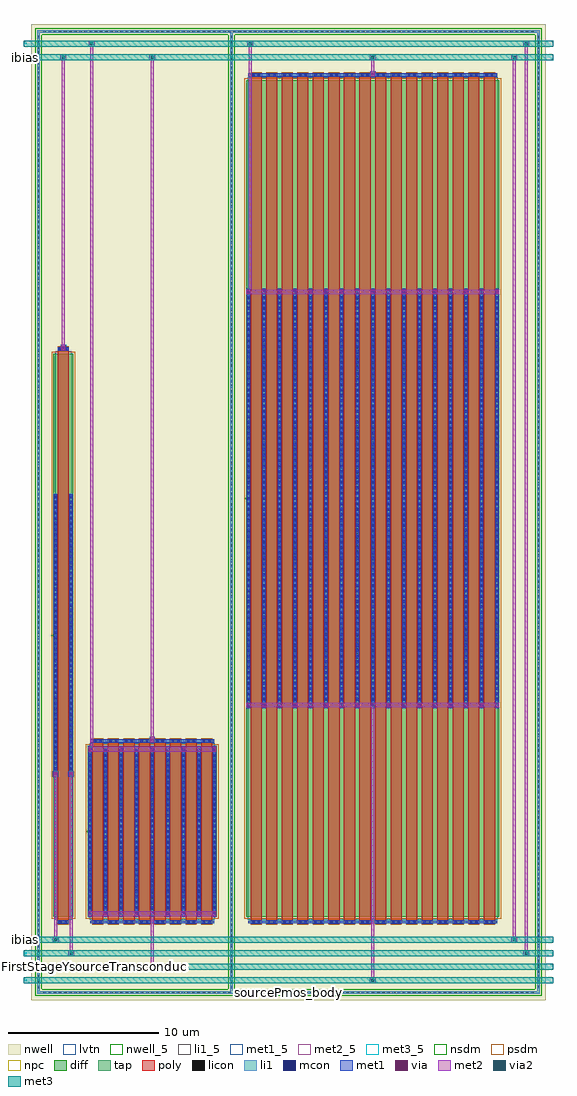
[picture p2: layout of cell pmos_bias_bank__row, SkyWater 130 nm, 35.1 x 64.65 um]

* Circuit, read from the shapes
.subckt pmos_bias_bank__row FirstStageYsourceTransconductance ibias out sourcePmos sourcePmos_body
XM1 sourcePmos ibias ibias sourcePmos_body sky130_fd_pr__pfet_01v8_lvt w=37.3 l=0.74
XM2 FirstStageYsourceTransconductance ibias sourcePmos sourcePmos_body sky130_fd_pr__pfet_01v8_lvt w=11.33 l=0.74 m=8
XM3 out ibias sourcePmos sourcePmos_body sky130_fd_pr__pfet_01v8_lvt w=55.44 l=0.74 m=16
.ends

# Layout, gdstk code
import gdstk
lib = gdstk.Library(unit=1e-6, precision=1e-09)
def R(c, l, rs):  # rectangles x0, y0, x1, y1
    for r in rs: c.add(gdstk.rectangle(r[:2], r[2:], *l))
def A(c, l, x, y, w, h, nx, ny, dx, dy):  # array of equal rectangles
    R(c, l, [(x+i*dx, y+j*dy, x+i*dx+w, y+j*dy+h) for i in range(nx) for j in range(ny)])
nwell_5 = (64, 5)
nwell = (64, 20)
diff = (65, 20)
tap = (65, 44)
poly = (66, 20)
licon = (66, 44)
li1_5 = (67, 5)
li1 = (67, 20)
mcon = (67, 44)
met1_5 = (68, 5)
met1 = (68, 20)
via = (68, 44)
met2_5 = (69, 5)
met2 = (69, 20)
via2 = (69, 44)
met3_5 = (70, 5)
met3 = (70, 20)
nsdm = (93, 44)
psdm = (94, 20)
npc = (95, 20)
lvtn = (125, 44)

sky130_fd_pr__pfet_01v8_ = lib.new_cell('sky130_fd_pr__pfet_01v8_lvt_7S7S4Q')
R(sky130_fd_pr__pfet_01v8_, nwell, [(-0.84,-19.15,0.84,19.15)])
R(sky130_fd_pr__pfet_01v8_, diff, [(-0.66,-18.65,0.66,18.65)])
R(sky130_fd_pr__pfet_01v8_, poly, [(-0.37,-19.135,0.37,19.135)])
A(sky130_fd_pr__pfet_01v8_, licon, -0.6, -9.265, 0.17, 0.17, 1, 55, 0, 0.34)
A(sky130_fd_pr__pfet_01v8_, licon, 0.43, -9.265, 0.17, 0.17, 1, 55, 0, 0.34)
R(sky130_fd_pr__pfet_01v8_, licon, [(-0.255,-19.055,-0.085,-18.885), (0.085,-19.055,0.255,-18.885), (-0.255,18.885,-0.085,19.055), (0.085,18.885,0.255,19.055)])
R(sky130_fd_pr__pfet_01v8_, li1, [(-0.37,-19.055,0.37,-18.885), (-0.6,-9.375,-0.43,9.375), (0.43,-9.375,0.6,9.375), (-0.37,18.885,0.37,19.055)])
A(sky130_fd_pr__pfet_01v8_, mcon, -0.6, -9.265, 0.17, 0.17, 1, 52, 0, 0.36)
A(sky130_fd_pr__pfet_01v8_, mcon, 0.43, -9.265, 0.17, 0.17, 1, 52, 0, 0.36)
R(sky130_fd_pr__pfet_01v8_, mcon, [(-0.265,-19.055,-0.095,-18.885), (0.095,-19.055,0.265,-18.885), (-0.265,18.885,-0.095,19.055), (0.095,18.885,0.265,19.055)])
R(sky130_fd_pr__pfet_01v8_, met1, [(-0.35,-19.085,0.35,-18.855), (-0.63,-9.355,-0.4,9.355), (0.4,-9.355,0.63,9.355), (-0.35,18.855,0.35,19.085)])
R(sky130_fd_pr__pfet_01v8_, psdm, [(-0.785,-18.775,0.785,18.775)])
R(sky130_fd_pr__pfet_01v8_, npc, [(-0.355,-19.155,0.355,-18.785), (-0.355,18.785,0.355,19.155)])
R(sky130_fd_pr__pfet_01v8_, lvtn, [(-0.55,-18.83,0.55,18.83)])
sky130_fd_pr__pfet_01v8_.add(gdstk.Label('D', (-0.515,0), layer=67, texttype=5))
sky130_fd_pr__pfet_01v8_.add(gdstk.Label('S', (0.515,0), layer=67, texttype=5))
sky130_fd_pr__pfet_01v8_.add(gdstk.Label('G', (0,18.97), layer=67, texttype=5))

pfet_01v8_lvt_w37p3_l0p7 = lib.new_cell('pfet_01v8_lvt_W37p3_L0p74_m1__nf1_gboth_sdhalf_ng')
R(pfet_01v8_lvt_w37p3_l0p7, nwell_5, [(0.05,19.1,0.15,19.2)])
R(pfet_01v8_lvt_w37p3_l0p7, nwell, [(0.05,19.1,0.15,19.2)])
R(pfet_01v8_lvt_w37p3_l0p7, met1_5, [(0.21,19.15,0.44,19.35), (1.24,19.15,1.47,19.35), (0.49,38.005,1.19,38.235)])
R(pfet_01v8_lvt_w37p3_l0p7, met1, [(0.21,19.15,0.44,19.35), (1.24,19.15,1.47,19.35), (0.49,38.005,1.19,38.235)])
pfet_01v8_lvt_w37p3_l0p7.add(gdstk.Reference(sky130_fd_pr__pfet_01v8_, (0.84,19.15)))
pfet_01v8_lvt_w37p3_l0p7.add(gdstk.Label('D', (0.325,19.25), layer=68, texttype=5))
pfet_01v8_lvt_w37p3_l0p7.add(gdstk.Label('S', (1.355,19.25), layer=68, texttype=5))
pfet_01v8_lvt_w37p3_l0p7.add(gdstk.Label('G', (0.84,38.12), layer=68, texttype=5))
pfet_01v8_lvt_w37p3_l0p7.add(gdstk.Label('B', (0.1,19.15), layer=64, texttype=5))

c_sky130_fd_pr__pfet_01v8_ = lib.new_cell('sky130_fd_pr__pfet_01v8_lvt_CBAHUX')
R(c_sky130_fd_pr__pfet_01v8_, nwell, [(-4.445,-6.165,4.445,6.165)])
R(c_sky130_fd_pr__pfet_01v8_, diff, [(-4.265,-5.665,4.265,5.665)])
A(c_sky130_fd_pr__pfet_01v8_, poly, -3.975, -6.15, 0.74, 12.3, 8, 1, 1.03, 0)
A(c_sky130_fd_pr__pfet_01v8_, licon, -4.205, -5.525, 0.17, 0.17, 9, 33, 1.03, 0.34)
R(c_sky130_fd_pr__pfet_01v8_, licon, [(-3.86,-6.07,-3.69,-5.9), (-3.52,-6.07,-3.35,-5.9), (-2.83,-6.07,-2.66,-5.9), (-2.49,-6.07,-2.32,-5.9), (-1.8,-6.07,-1.63,-5.9), (-1.46,-6.07,-1.29,-5.9), (-0.77,-6.07,-0.6,-5.9), (-0.43,-6.07,-0.26,-5.9), (0.26,-6.07,0.43,-5.9), (0.6,-6.07,0.77,-5.9), (1.29,-6.07,1.46,-5.9), (1.63,-6.07,1.8,-5.9), (2.32,-6.07,2.49,-5.9), (2.66,-6.07,2.83,-5.9), (3.35,-6.07,3.52,-5.9), (3.69,-6.07,3.86,-5.9), (-3.86,5.9,-3.69,6.07), (-3.52,5.9,-3.35,6.07), (-2.83,5.9,-2.66,6.07), (-2.49,5.9,-2.32,6.07), (-1.8,5.9,-1.63,6.07), (-1.46,5.9,-1.29,6.07), (-0.77,5.9,-0.6,6.07), (-0.43,5.9,-0.26,6.07), (0.26,5.9,0.43,6.07), (0.6,5.9,0.77,6.07), (1.29,5.9,1.46,6.07), (1.63,5.9,1.8,6.07), (2.32,5.9,2.49,6.07), (2.66,5.9,2.83,6.07), (3.35,5.9,3.52,6.07), (3.69,5.9,3.86,6.07)])
A(c_sky130_fd_pr__pfet_01v8_, li1, -4.205, -5.685, 0.17, 11.37, 9, 1, 1.03, 0)
R(c_sky130_fd_pr__pfet_01v8_, li1, [(-4.12,-6.07,4.12,-5.9), (-4.12,5.9,4.12,6.07)])
A(c_sky130_fd_pr__pfet_01v8_, mcon, -4.205, -5.485, 0.17, 0.17, 9, 31, 1.03, 0.36)
R(c_sky130_fd_pr__pfet_01v8_, mcon, [(-3.87,-6.07,-3.7,-5.9), (-3.51,-6.07,-3.34,-5.9), (-2.84,-6.07,-2.67,-5.9), (-2.48,-6.07,-2.31,-5.9), (-1.81,-6.07,-1.64,-5.9), (-1.45,-6.07,-1.28,-5.9), (-0.78,-6.07,-0.61,-5.9), (-0.42,-6.07,-0.25,-5.9), (0.25,-6.07,0.42,-5.9), (0.61,-6.07,0.78,-5.9), (1.28,-6.07,1.45,-5.9), (1.64,-6.07,1.81,-5.9), (2.31,-6.07,2.48,-5.9), (2.67,-6.07,2.84,-5.9), (3.34,-6.07,3.51,-5.9), (3.7,-6.07,3.87,-5.9), (-3.87,5.9,-3.7,6.07), (-3.51,5.9,-3.34,6.07), (-2.84,5.9,-2.67,6.07), (-2.48,5.9,-2.31,6.07), (-1.81,5.9,-1.64,6.07), (-1.45,5.9,-1.28,6.07), (-0.78,5.9,-0.61,6.07), (-0.42,5.9,-0.25,6.07), (0.25,5.9,0.42,6.07), (0.61,5.9,0.78,6.07), (1.28,5.9,1.45,6.07), (1.64,5.9,1.81,6.07), (2.31,5.9,2.48,6.07), (2.67,5.9,2.84,6.07), (3.34,5.9,3.51,6.07), (3.7,5.9,3.87,6.07)])
A(c_sky130_fd_pr__pfet_01v8_, met1, -3.955, -6.1, 0.7, 0.03, 8, 2, 1.03, 0.2)
A(c_sky130_fd_pr__pfet_01v8_, met1, -4.235, -5.665, 0.23, 11.33, 9, 1, 1.03, 0)
A(c_sky130_fd_pr__pfet_01v8_, met1, -3.955, 5.87, 0.7, 0.03, 8, 2, 1.03, 0.2)
R(c_sky130_fd_pr__pfet_01v8_, met1, [(-4.12,-6.07,4.12,-5.9), (-4.12,5.9,4.12,6.07)])
R(c_sky130_fd_pr__pfet_01v8_, psdm, [(-4.39,-5.79,4.39,5.79)])
A(c_sky130_fd_pr__pfet_01v8_, npc, -3.96, -6.17, 0.71, 0.37, 8, 2, 1.03, 11.97)
R(c_sky130_fd_pr__pfet_01v8_, lvtn, [(-4.155,-5.845,4.155,5.845)])
c_sky130_fd_pr__pfet_01v8_.add(gdstk.Label('D0', (-4.12,0), layer=67, texttype=5))
c_sky130_fd_pr__pfet_01v8_.add(gdstk.Label('G', (3.605,5.985), layer=67, texttype=5))
c_sky130_fd_pr__pfet_01v8_.add(gdstk.Label('G', (2.575,5.985), layer=67, texttype=5))
c_sky130_fd_pr__pfet_01v8_.add(gdstk.Label('G', (1.545,5.985), layer=67, texttype=5))
c_sky130_fd_pr__pfet_01v8_.add(gdstk.Label('G', (0.515,5.985), layer=67, texttype=5))
c_sky130_fd_pr__pfet_01v8_.add(gdstk.Label('G', (-0.515,5.985), layer=67, texttype=5))
c_sky130_fd_pr__pfet_01v8_.add(gdstk.Label('G', (-1.545,5.985), layer=67, texttype=5))
c_sky130_fd_pr__pfet_01v8_.add(gdstk.Label('G', (-2.575,5.985), layer=67, texttype=5))
c_sky130_fd_pr__pfet_01v8_.add(gdstk.Label('G', (-3.605,5.985), layer=67, texttype=5))
c_sky130_fd_pr__pfet_01v8_.add(gdstk.Label('S1', (-3.09,0), layer=67, texttype=5))
c_sky130_fd_pr__pfet_01v8_.add(gdstk.Label('D2', (-2.06,0), layer=67, texttype=5))
c_sky130_fd_pr__pfet_01v8_.add(gdstk.Label('S3', (-1.03,0), layer=67, texttype=5))
c_sky130_fd_pr__pfet_01v8_.add(gdstk.Label('D4', (0,0), layer=67, texttype=5))
c_sky130_fd_pr__pfet_01v8_.add(gdstk.Label('S5', (1.03,0), layer=67, texttype=5))
c_sky130_fd_pr__pfet_01v8_.add(gdstk.Label('D6', (2.06,0), layer=67, texttype=5))
c_sky130_fd_pr__pfet_01v8_.add(gdstk.Label('S7', (3.09,0), layer=67, texttype=5))

pfet_01v8_lvt_w90p63_l0p = lib.new_cell('pfet_01v8_lvt_W90p63_L0p74_m1__nf8_gboth_sdfull_outS_ng')
R(pfet_01v8_lvt_w90p63_l0p, nwell_5, [(0.05,6.115,0.15,6.215)])
R(pfet_01v8_lvt_w90p63_l0p, nwell, [(0.05,6.115,0.15,6.215)])
R(pfet_01v8_lvt_w90p63_l0p, met1_5, [(0.325,12.035,8.565,12.265)])
A(pfet_01v8_lvt_w90p63_l0p, met1, 1.225, 0.55, 0.26, 0.32, 4, 1, 2.06, 0)
A(pfet_01v8_lvt_w90p63_l0p, met1, 0.195, 11.46, 0.26, 0.32, 5, 1, 2.06, 0)
R(pfet_01v8_lvt_w90p63_l0p, met1, [(0.325,12.035,8.565,12.265)])
A(pfet_01v8_lvt_w90p63_l0p, via, 1.28, 0.635, 0.15, 0.15, 4, 1, 2.06, 0)
A(pfet_01v8_lvt_w90p63_l0p, via, 0.25, 11.545, 0.15, 0.15, 5, 1, 2.06, 0)
R(pfet_01v8_lvt_w90p63_l0p, met2_5, [(0.19,0.55,8.7,0.87), (0.19,11.46,8.7,11.78)])
R(pfet_01v8_lvt_w90p63_l0p, met2, [(0.19,0.55,8.7,0.87), (0.19,11.46,8.7,11.78)])
pfet_01v8_lvt_w90p63_l0p.add(gdstk.Reference(c_sky130_fd_pr__pfet_01v8_, (4.445,6.165)))
pfet_01v8_lvt_w90p63_l0p.add(gdstk.Label('S', (4.445,11.62), layer=69, texttype=5))
pfet_01v8_lvt_w90p63_l0p.add(gdstk.Label('D', (4.445,0.71), layer=69, texttype=5))
pfet_01v8_lvt_w90p63_l0p.add(gdstk.Label('G', (4.445,12.15), layer=68, texttype=5))
pfet_01v8_lvt_w90p63_l0p.add(gdstk.Label('B', (0.1,6.165), layer=64, texttype=5))

c_sky130_fd_pr__pfet_01v8__ = lib.new_cell('sky130_fd_pr__pfet_01v8_lvt_2BKEHH')
R(c_sky130_fd_pr__pfet_01v8__, nwell, [(-8.565,-28.22,8.565,28.22)])
R(c_sky130_fd_pr__pfet_01v8__, diff, [(-8.385,-27.72,8.385,27.72)])
A(c_sky130_fd_pr__pfet_01v8__, poly, -8.095, -28.205, 0.74, 56.41, 16, 1, 1.03, 0)
A(c_sky130_fd_pr__pfet_01v8__, licon, -8.325, -13.685, 0.17, 0.17, 17, 81, 1.03, 0.34)
R(c_sky130_fd_pr__pfet_01v8__, licon, [(-7.98,-28.125,-7.81,-27.955), (-7.64,-28.125,-7.47,-27.955), (-6.95,-28.125,-6.78,-27.955), (-6.61,-28.125,-6.44,-27.955), (-5.92,-28.125,-5.75,-27.955), (-5.58,-28.125,-5.41,-27.955), (-4.89,-28.125,-4.72,-27.955), (-4.55,-28.125,-4.38,-27.955), (-3.86,-28.125,-3.69,-27.955), (-3.52,-28.125,-3.35,-27.955), (-2.83,-28.125,-2.66,-27.955), (-2.49,-28.125,-2.32,-27.955), (-1.8,-28.125,-1.63,-27.955), (-1.46,-28.125,-1.29,-27.955), (-0.77,-28.125,-0.6,-27.955), (-0.43,-28.125,-0.26,-27.955), (0.26,-28.125,0.43,-27.955), (0.6,-28.125,0.77,-27.955), (1.29,-28.125,1.46,-27.955), (1.63,-28.125,1.8,-27.955), (2.32,-28.125,2.49,-27.955), (2.66,-28.125,2.83,-27.955), (3.35,-28.125,3.52,-27.955), (3.69,-28.125,3.86,-27.955), (4.38,-28.125,4.55,-27.955), (4.72,-28.125,4.89,-27.955), (5.41,-28.125,5.58,-27.955), (5.75,-28.125,5.92,-27.955), (6.44,-28.125,6.61,-27.955), (6.78,-28.125,6.95,-27.955), (7.47,-28.125,7.64,-27.955), (7.81,-28.125,7.98,-27.955), (-7.98,27.955,-7.81,28.125), (-7.64,27.955,-7.47,28.125), (-6.95,27.955,-6.78,28.125), (-6.61,27.955,-6.44,28.125), (-5.92,27.955,-5.75,28.125), (-5.58,27.955,-5.41,28.125), (-4.89,27.955,-4.72,28.125), (-4.55,27.955,-4.38,28.125), (-3.86,27.955,-3.69,28.125), (-3.52,27.955,-3.35,28.125), (-2.83,27.955,-2.66,28.125), (-2.49,27.955,-2.32,28.125), (-1.8,27.955,-1.63,28.125), (-1.46,27.955,-1.29,28.125), (-0.77,27.955,-0.6,28.125), (-0.43,27.955,-0.26,28.125), (0.26,27.955,0.43,28.125), (0.6,27.955,0.77,28.125), (1.29,27.955,1.46,28.125), (1.63,27.955,1.8,28.125), (2.32,27.955,2.49,28.125), (2.66,27.955,2.83,28.125), (3.35,27.955,3.52,28.125), (3.69,27.955,3.86,28.125), (4.38,27.955,4.55,28.125), (4.72,27.955,4.89,28.125), (5.41,27.955,5.58,28.125), (5.75,27.955,5.92,28.125), (6.44,27.955,6.61,28.125), (6.78,27.955,6.95,28.125), (7.47,27.955,7.64,28.125), (7.81,27.955,7.98,28.125)])
A(c_sky130_fd_pr__pfet_01v8__, li1, -8.325, -13.91, 0.17, 27.82, 17, 1, 1.03, 0)
R(c_sky130_fd_pr__pfet_01v8__, li1, [(-8.24,-28.125,8.24,-27.955), (-8.24,27.955,8.24,28.125)])
A(c_sky130_fd_pr__pfet_01v8__, mcon, -8.325, -13.765, 0.17, 0.17, 17, 77, 1.03, 0.36)
R(c_sky130_fd_pr__pfet_01v8__, mcon, [(-7.99,-28.125,-7.82,-27.955), (-7.63,-28.125,-7.46,-27.955), (-6.96,-28.125,-6.79,-27.955), (-6.6,-28.125,-6.43,-27.955), (-5.93,-28.125,-5.76,-27.955), (-5.57,-28.125,-5.4,-27.955), (-4.9,-28.125,-4.73,-27.955), (-4.54,-28.125,-4.37,-27.955), (-3.87,-28.125,-3.7,-27.955), (-3.51,-28.125,-3.34,-27.955), (-2.84,-28.125,-2.67,-27.955), (-2.48,-28.125,-2.31,-27.955), (-1.81,-28.125,-1.64,-27.955), (-1.45,-28.125,-1.28,-27.955), (-0.78,-28.125,-0.61,-27.955), (-0.42,-28.125,-0.25,-27.955), (0.25,-28.125,0.42,-27.955), (0.61,-28.125,0.78,-27.955), (1.28,-28.125,1.45,-27.955), (1.64,-28.125,1.81,-27.955), (2.31,-28.125,2.48,-27.955), (2.67,-28.125,2.84,-27.955), (3.34,-28.125,3.51,-27.955), (3.7,-28.125,3.87,-27.955), (4.37,-28.125,4.54,-27.955), (4.73,-28.125,4.9,-27.955), (5.4,-28.125,5.57,-27.955), (5.76,-28.125,5.93,-27.955), (6.43,-28.125,6.6,-27.955), (6.79,-28.125,6.96,-27.955), (7.46,-28.125,7.63,-27.955), (7.82,-28.125,7.99,-27.955), (-7.99,27.955,-7.82,28.125), (-7.63,27.955,-7.46,28.125), (-6.96,27.955,-6.79,28.125), (-6.6,27.955,-6.43,28.125), (-5.93,27.955,-5.76,28.125), (-5.57,27.955,-5.4,28.125), (-4.9,27.955,-4.73,28.125), (-4.54,27.955,-4.37,28.125), (-3.87,27.955,-3.7,28.125), (-3.51,27.955,-3.34,28.125), (-2.84,27.955,-2.67,28.125), (-2.48,27.955,-2.31,28.125), (-1.81,27.955,-1.64,28.125), (-1.45,27.955,-1.28,28.125), (-0.78,27.955,-0.61,28.125), (-0.42,27.955,-0.25,28.125), (0.25,27.955,0.42,28.125), (0.61,27.955,0.78,28.125), (1.28,27.955,1.45,28.125), (1.64,27.955,1.81,28.125), (2.31,27.955,2.48,28.125), (2.67,27.955,2.84,28.125), (3.34,27.955,3.51,28.125), (3.7,27.955,3.87,28.125), (4.37,27.955,4.54,28.125), (4.73,27.955,4.9,28.125), (5.4,27.955,5.57,28.125), (5.76,27.955,5.93,28.125), (6.43,27.955,6.6,28.125), (6.79,27.955,6.96,28.125), (7.46,27.955,7.63,28.125), (7.82,27.955,7.99,28.125)])
A(c_sky130_fd_pr__pfet_01v8__, met1, -8.075, -28.155, 0.7, 0.03, 16, 2, 1.03, 0.2)
A(c_sky130_fd_pr__pfet_01v8__, met1, -8.355, -13.89, 0.23, 27.78, 17, 1, 1.03, 0)
A(c_sky130_fd_pr__pfet_01v8__, met1, -8.075, 27.925, 0.7, 0.03, 16, 2, 1.03, 0.2)
R(c_sky130_fd_pr__pfet_01v8__, met1, [(-8.24,-28.125,8.24,-27.955), (-8.24,27.955,8.24,28.125)])
R(c_sky130_fd_pr__pfet_01v8__, psdm, [(-8.51,-27.845,8.51,27.845)])
A(c_sky130_fd_pr__pfet_01v8__, npc, -8.08, -28.225, 0.71, 0.37, 16, 2, 1.03, 56.08)
R(c_sky130_fd_pr__pfet_01v8__, lvtn, [(-8.275,-27.9,8.275,27.9)])
c_sky130_fd_pr__pfet_01v8__.add(gdstk.Label('D0', (-8.24,0), layer=67, texttype=5))
c_sky130_fd_pr__pfet_01v8__.add(gdstk.Label('G', (7.725,28.04), layer=67, texttype=5))
c_sky130_fd_pr__pfet_01v8__.add(gdstk.Label('G', (6.695,28.04), layer=67, texttype=5))
c_sky130_fd_pr__pfet_01v8__.add(gdstk.Label('G', (5.665,28.04), layer=67, texttype=5))
c_sky130_fd_pr__pfet_01v8__.add(gdstk.Label('G', (4.635,28.04), layer=67, texttype=5))
c_sky130_fd_pr__pfet_01v8__.add(gdstk.Label('G', (3.605,28.04), layer=67, texttype=5))
c_sky130_fd_pr__pfet_01v8__.add(gdstk.Label('G', (2.575,28.04), layer=67, texttype=5))
c_sky130_fd_pr__pfet_01v8__.add(gdstk.Label('G', (1.545,28.04), layer=67, texttype=5))
c_sky130_fd_pr__pfet_01v8__.add(gdstk.Label('G', (0.515,28.04), layer=67, texttype=5))
c_sky130_fd_pr__pfet_01v8__.add(gdstk.Label('G', (-0.515,28.04), layer=67, texttype=5))
c_sky130_fd_pr__pfet_01v8__.add(gdstk.Label('G', (-1.545,28.04), layer=67, texttype=5))
c_sky130_fd_pr__pfet_01v8__.add(gdstk.Label('G', (-2.575,28.04), layer=67, texttype=5))
c_sky130_fd_pr__pfet_01v8__.add(gdstk.Label('G', (-3.605,28.04), layer=67, texttype=5))
c_sky130_fd_pr__pfet_01v8__.add(gdstk.Label('G', (-4.635,28.04), layer=67, texttype=5))
c_sky130_fd_pr__pfet_01v8__.add(gdstk.Label('G', (-5.665,28.04), layer=67, texttype=5))
c_sky130_fd_pr__pfet_01v8__.add(gdstk.Label('G', (-6.695,28.04), layer=67, texttype=5))
c_sky130_fd_pr__pfet_01v8__.add(gdstk.Label('G', (-7.725,28.04), layer=67, texttype=5))
c_sky130_fd_pr__pfet_01v8__.add(gdstk.Label('S1', (-7.21,0), layer=67, texttype=5))
c_sky130_fd_pr__pfet_01v8__.add(gdstk.Label('D2', (-6.18,0), layer=67, texttype=5))
c_sky130_fd_pr__pfet_01v8__.add(gdstk.Label('S3', (-5.15,0), layer=67, texttype=5))
c_sky130_fd_pr__pfet_01v8__.add(gdstk.Label('D4', (-4.12,0), layer=67, texttype=5))
c_sky130_fd_pr__pfet_01v8__.add(gdstk.Label('S5', (-3.09,0), layer=67, texttype=5))
c_sky130_fd_pr__pfet_01v8__.add(gdstk.Label('D6', (-2.06,0), layer=67, texttype=5))
c_sky130_fd_pr__pfet_01v8__.add(gdstk.Label('S7', (-1.03,0), layer=67, texttype=5))
c_sky130_fd_pr__pfet_01v8__.add(gdstk.Label('D8', (0,0), layer=67, texttype=5))
c_sky130_fd_pr__pfet_01v8__.add(gdstk.Label('S9', (1.03,0), layer=67, texttype=5))
c_sky130_fd_pr__pfet_01v8__.add(gdstk.Label('D10', (2.06,0), layer=67, texttype=5))
c_sky130_fd_pr__pfet_01v8__.add(gdstk.Label('S11', (3.09,0), layer=67, texttype=5))
c_sky130_fd_pr__pfet_01v8__.add(gdstk.Label('D12', (4.12,0), layer=67, texttype=5))
c_sky130_fd_pr__pfet_01v8__.add(gdstk.Label('S13', (5.15,0), layer=67, texttype=5))
c_sky130_fd_pr__pfet_01v8__.add(gdstk.Label('D14', (6.18,0), layer=67, texttype=5))
c_sky130_fd_pr__pfet_01v8__.add(gdstk.Label('S15', (7.21,0), layer=67, texttype=5))

pfet_01v8_lvt_w887p03_l0 = lib.new_cell('pfet_01v8_lvt_W887p03_L0p74_m1__nf16_gboth_sdhalf_outS_ng')
R(pfet_01v8_lvt_w887p03_l0, nwell_5, [(0.05,28.17,0.15,28.27)])
R(pfet_01v8_lvt_w887p03_l0, nwell, [(0.05,28.17,0.15,28.27)])
R(pfet_01v8_lvt_w887p03_l0, met1_5, [(0.325,56.145,16.805,56.375)])
A(pfet_01v8_lvt_w887p03_l0, met1, 1.225, 14.38, 0.26, 0.32, 8, 1, 2.06, 0)
A(pfet_01v8_lvt_w887p03_l0, met1, 0.195, 41.74, 0.26, 0.32, 9, 1, 2.06, 0)
R(pfet_01v8_lvt_w887p03_l0, met1, [(0.325,56.145,16.805,56.375)])
A(pfet_01v8_lvt_w887p03_l0, via, 1.28, 14.465, 0.15, 0.15, 8, 1, 2.06, 0)
A(pfet_01v8_lvt_w887p03_l0, via, 0.25, 41.825, 0.15, 0.15, 9, 1, 2.06, 0)
R(pfet_01v8_lvt_w887p03_l0, met2_5, [(0.19,14.38,16.94,14.7), (0.19,41.74,16.94,42.06)])
R(pfet_01v8_lvt_w887p03_l0, met2, [(0.19,14.38,16.94,14.7), (0.19,41.74,16.94,42.06)])
pfet_01v8_lvt_w887p03_l0.add(gdstk.Reference(c_sky130_fd_pr__pfet_01v8__, (8.565,28.22)))
pfet_01v8_lvt_w887p03_l0.add(gdstk.Label('S', (8.565,41.9), layer=69, texttype=5))
pfet_01v8_lvt_w887p03_l0.add(gdstk.Label('D', (8.565,14.54), layer=69, texttype=5))
pfet_01v8_lvt_w887p03_l0.add(gdstk.Label('G', (8.565,56.26), layer=68, texttype=5))
pfet_01v8_lvt_w887p03_l0.add(gdstk.Label('B', (0.1,28.22), layer=64, texttype=5))

pmos_bias_bank__row = lib.new_cell('pmos_bias_bank__row')
R(pmos_bias_bank__row, nwell, [(-1.3,-5,32.8,59.65)])
R(pmos_bias_bank__row, tap, [(-0.885,-4.585,32.385,-4.415), (-0.885,-4.415,-0.715,59.065), (11.885,-4.415,12.055,59.065), (32.215,-4.415,32.385,59.065), (-0.885,59.065,32.385,59.235)])
A(pmos_bias_bank__row, licon, -0.485, -4.585, 0.17, 0.17, 96, 2, 0.34, 63.65)
A(pmos_bias_bank__row, licon, -0.885, -4.21, 0.17, 0.17, 1, 186, 0, 0.34)
A(pmos_bias_bank__row, licon, 11.885, -4.21, 0.17, 0.17, 1, 186, 0, 0.34)
A(pmos_bias_bank__row, licon, 32.215, -4.21, 0.17, 0.17, 1, 186, 0, 0.34)
R(pmos_bias_bank__row, li1_5, [(15.7,-4.55,15.8,-4.45)])
R(pmos_bias_bank__row, li1, [(-0.885,-4.585,32.385,-4.415), (-0.885,-4.415,-0.715,59.065), (11.885,-4.415,12.055,59.065), (32.215,-4.415,32.385,59.065), (-0.885,59.065,32.385,59.235)])
R(pmos_bias_bank__row, met1, [(0.145,9.795,0.505,10.155), (1.175,9.795,1.535,10.155), (6.545,12.065,6.905,12.425), (0.66,38.035,1.02,38.395), (21.155,56.175,21.515,56.535)])
R(pmos_bias_bank__row, via, [(0.25,9.9,0.4,10.05), (1.28,9.9,1.43,10.05), (6.65,12.17,6.8,12.32), (0.765,38.14,0.915,38.29), (21.26,56.28,21.41,56.43)])
R(pmos_bias_bank__row, met2, [(21.135,-3.9,21.535,-3.5), (21.235,-3.5,21.435,14.48), (6.525,-3,6.925,-2.6), (6.625,-2.6,6.825,0.65), (1.155,-2.1,1.555,-1.7), (31.3,-2.1,31.7,-1.7), (1.255,-1.7,1.455,9.815), (31.4,-1.7,31.6,58.15), (0.125,-1.2,0.525,-0.8), (30.5,-1.2,30.9,-0.8), (0.225,-0.8,0.425,9.815), (30.6,-0.8,30.8,57.25), (0.195,9.815,0.455,10.135), (1.225,9.815,1.485,10.135), (2.63,11.68,2.83,58.15), (6.595,12.085,6.855,12.405), (6.625,12.405,6.825,57.25), (0.71,38.055,0.97,38.375), (0.74,38.375,0.94,57.25), (13.12,41.96,13.32,58.15), (21.205,56.195,21.465,56.515), (21.235,56.515,21.435,57.25), (0.64,57.25,1.04,57.65), (6.525,57.25,6.925,57.65), (21.135,57.25,21.535,57.65), (30.5,57.25,30.9,57.65), (2.53,58.15,2.93,58.55), (13.02,58.15,13.42,58.55), (31.3,58.15,31.7,58.55)])
R(pmos_bias_bank__row, via2, [(21.235,-3.8,21.435,-3.6), (6.625,-2.9,6.825,-2.7), (1.255,-2,1.455,-1.8), (31.4,-2,31.6,-1.8), (0.225,-1.1,0.425,-0.9), (30.6,-1.1,30.8,-0.9), (0.74,57.35,0.94,57.55), (6.625,57.35,6.825,57.55), (21.235,57.35,21.435,57.55), (30.6,57.35,30.8,57.55), (2.63,58.25,2.83,58.45), (13.12,58.25,13.32,58.45), (31.4,58.25,31.6,58.45)])
A(pmos_bias_bank__row, met3_5, -1.7, -3.75, 0.1, 0.1, 1, 4, 0, 0.9)
R(pmos_bias_bank__row, met3_5, [(-1.7,57.4,-1.6,57.5), (-1.7,58.3,-1.6,58.4)])
A(pmos_bias_bank__row, met3, -1.8, -3.9, 35.1, 0.4, 1, 4, 0, 0.9)
R(pmos_bias_bank__row, met3, [(-1.8,57.25,33.3,57.65), (-1.8,58.15,33.3,58.55)])
R(pmos_bias_bank__row, nsdm, [(-1.01,-4.71,32.51,-4.29), (-1.01,-4.29,-0.59,58.94), (11.76,-4.29,12.18,58.94), (32.09,-4.29,32.51,58.94), (-1.01,58.94,32.51,59.36)])
pmos_bias_bank__row.add(gdstk.Reference(pfet_01v8_lvt_w37p3_l0p7, (0,0)))
pmos_bias_bank__row.add(gdstk.Reference(pfet_01v8_lvt_w90p63_l0p, (2.28,0)))
pmos_bias_bank__row.add(gdstk.Reference(pfet_01v8_lvt_w887p03_l0, (12.77,0)))
pmos_bias_bank__row.add(gdstk.Label('ibias', (-1.65,57.45), layer=70, texttype=5))
pmos_bias_bank__row.add(gdstk.Label('sourcePmos', (-1.65,58.35), layer=70, texttype=5))
pmos_bias_bank__row.add(gdstk.Label('ibias', (-1.65,-1), layer=70, texttype=5))
pmos_bias_bank__row.add(gdstk.Label('sourcePmos', (-1.65,-1.9), layer=70, texttype=5))
pmos_bias_bank__row.add(gdstk.Label('FirstStageYsourceTransconductance', (-1.65,-2.8), layer=70, texttype=5))
pmos_bias_bank__row.add(gdstk.Label('out', (-1.65,-3.7), layer=70, texttype=5))
pmos_bias_bank__row.add(gdstk.Label('sourcePmos_body', (15.75,-4.5), layer=67, texttype=5))

lib.write_gds('pmos_bias_bank__row.gds')
